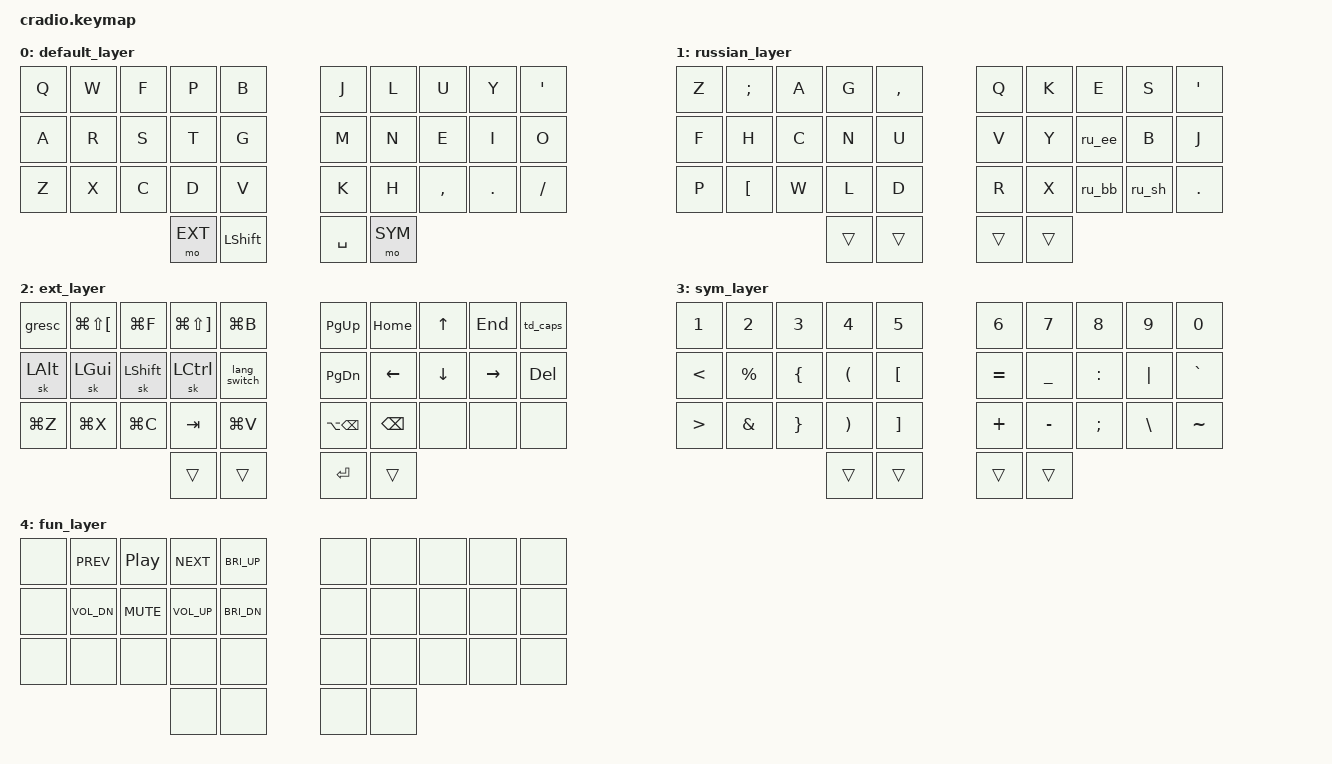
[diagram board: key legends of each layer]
/*
 * Copyright (c) 2020 The ZMK Contributors
 *
 * SPDX-License-Identifier: MIT
 */

#include <behaviors.dtsi>
#include <dt-bindings/zmk/keys.h>
#include <dt-bindings/zmk/bt.h>
#include <dt-bindings/zmk/ext_power.h>
#include <dt-bindings/zmk/outputs.h>

#define BAS 0
#define RUS 1
#define EXT 2
#define SYM 3
#define FUN 4

/ {
        behaviors {
                        hm: homerow_mods {
            compatible = "zmk,behavior-hold-tap";
            label = "homerow mods";
            #binding-cells = <2>;
            tapping_term_ms = <200>;
            flavor = "tap-preferred";
            bindings = <&kp>, <&kp>;
        };

                td_caps: td_caps {
                        compatible = "zmk,behavior-tap-dance";
                        label = "Caps Word / Caps Lock";
                        #binding-cells = <0>;
                        tapping-term-ms = <200>;
                        bindings = <&caps_word>, <&kp CAPS>;
                };

                ru_ee: ru_ee {
                        compatible = "zmk,behavior-tap-dance";
                        label = "Russian Е / Ё";
                        #binding-cells = <0>;
                        tapping-term-ms = <200>;
                        bindings = <&kp T>, <&kp BSLH>;
                };

                ru_bb: ru_bb {
                        compatible = "zmk,behavior-tap-dance";
                        label = "Russian Ь / Ъ";
                        #binding-cells = <0>;
                        tapping-term-ms = <200>;
                        bindings = <&kp M>, <&kp RBKT>, <&kp KP_COMMA>;
                };

                ru_sh: ru_sh {
                        compatible = "zmk,behavior-tap-dance";
                        label = "Russian Ш / Щ";
                        #binding-cells = <0>;
                        tapping-term-ms = <200>;
                        bindings = <&kp I>, <&kp O>, <&kp KP_DOT>;
                };
        };

        macros {
                lang_switch: lang_switch {
                        label = "Language toggle";
                        compatible = "zmk,behavior-macro";
                        #binding-cells = <0>;
                        wait-ms = <40>;
                        tap-ms = <40>;
                        bindings
                                = <&macro_press &kp LGUI>
                                , <&tog RUS>
                                , <&macro_tap &kp SPACE>
                                , <&macro_release &kp LGUI>
                                ;
                };
        };

        conditional_layers {
                compatible = "zmk,conditional-layers";
                tri_layer {
                        if-layers = <2 3>;
                        then-layer = <4>;
                };
        };

        keymap {
                compatible = "zmk,keymap";

                default_layer {
                        bindings = <
   &kp Q &kp W &kp F &kp P &kp B    &kp J &kp L  &kp U     &kp Y   &kp SQT
   &kp A &kp R &kp S &kp T &kp G    &kp M &kp N  &kp E     &kp I   &kp O
   &kp Z &kp X &kp C &kp D &kp V    &kp K &kp H  &kp COMMA &kp DOT &kp FSLH
               &mo EXT &kp LSHFT    &kp SPACE &mo SYM
                        >;
                };

                russian_layer {
                        bindings = <
   &kp Z &kp SEMI &kp A &kp G &kp COMMA     &kp Q &kp K &kp E  &kp S  &kp SQT
   &kp F &kp H    &kp C &kp N &kp U         &kp V &kp Y &ru_ee &kp B  &kp J
   &kp P &kp LBKT &kp W &kp L &kp D         &kp R &kp X &ru_bb &ru_sh &kp DOT
                        &trans &trans       &trans &trans
                        >;
                };


                ext_layer {
                        bindings = <
   &gresc    &kp LG(LS(LBKT)) &kp LG(F) &kp LG(LS(RBKT)) &kp LG(B)       &kp PG_UP    &kp HOME &kp UP   &kp END   &td_caps
   &sk LALT  &sk LGUI         &sk LSHFT &sk LCTRL        &lang_switch    &kp PG_DN    &kp LEFT &kp DOWN &kp RIGHT &kp DEL
   &kp LG(Z) &kp LG(X)        &kp LG(C) &kp TAB          &kp LG(V)       &kp LA(BSPC) &kp BSPC &none    &none     &none
                                      &trans           &trans          &kp RET      &trans
                        >;
                };

                sym_layer {
                        bindings = <
   &kp N1  &kp N2    &kp N3   &kp N4    &kp N5       &kp N6    &kp N7    &kp N8    &kp N9   &kp N0
   &kp LT  &kp PRCNT &kp LBRC &kp LPAR  &kp LBKT     &kp EQUAL &kp UNDER &kp COLON &kp PIPE &kp GRAVE
   &kp GT  &kp AMPS  &kp RBRC &kp RPAR  &kp RBKT     &kp PLUS  &kp MINUS &kp SEMI  &kp BSLH &kp TILDE
                                    &trans &trans   &trans &trans
                        >;
                };

                fun_layer {
                        bindings = <
   &none &kp C_PREV   &kp C_PP   &kp C_NEXT   &kp C_BRI_UP    &none &none &none &none &none
   &none &kp C_VOL_DN &kp C_MUTE &kp C_VOL_UP &kp C_BRI_DN    &none &none &none &none &none
   &none &none        &none      &none        &none           &none &none &none &none &none
                     &none &none    &none &none
                        >;
                };
        };
};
